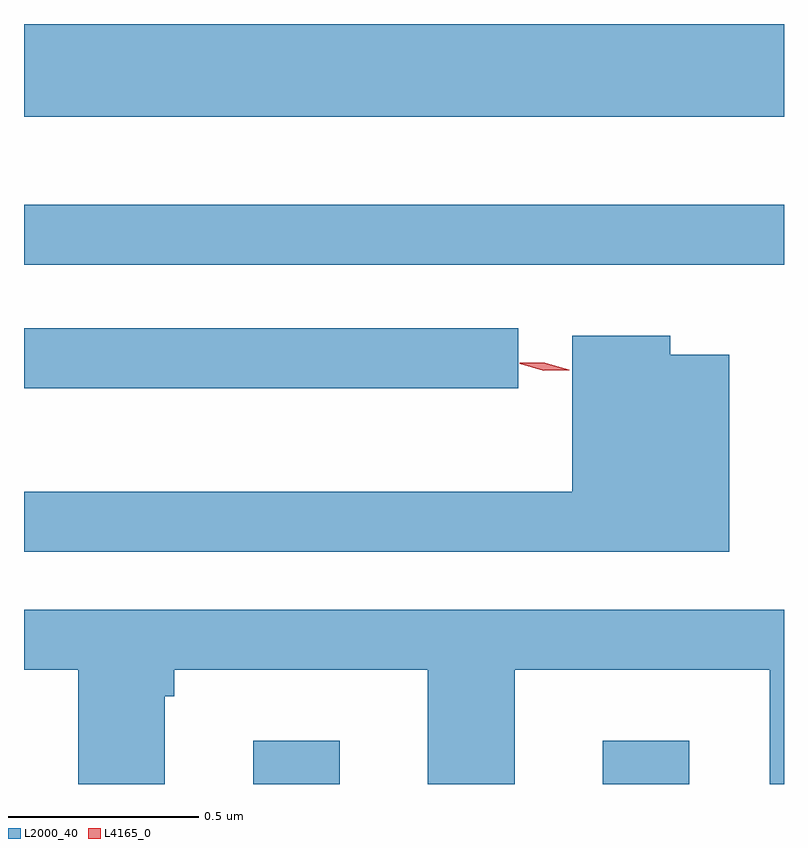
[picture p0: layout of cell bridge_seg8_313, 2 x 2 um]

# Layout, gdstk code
import gdstk
lib = gdstk.Library(unit=1e-6, precision=1e-09)
def R(c, l, rs):  # rectangles x0, y0, x1, y1
    for r in rs: c.add(gdstk.rectangle(r[:2], r[2:], *l))
def P(c, l, *ps):  # polygons
    for p in ps: c.add(gdstk.Polygon(p, *l))
L2000_40 = (2000, 40)
L4165_0 = (4165, 0)

bridge_seg8_313 = lib.new_cell('bridge_seg8_313')
R(bridge_seg8_313, L2000_40, [(1322.771,1867.96,1322.999,1868.074), (1323.691,1867.96,1323.919,1868.074), (1322.168,1869.001,1323.468,1869.159), (1322.168,1869.326,1324.168,1869.484), (1322.168,1869.716,1324.168,1869.96)])
P(bridge_seg8_313, L2000_40, [(1324.024,1869.089),(1323.869,1869.089),(1323.869,1869.139),(1323.611,1869.139),(1323.611,1868.729),(1322.168,1868.729),(1322.168,1868.571),(1324.024,1868.571)],
  [(1322.539,1868.191),(1322.564,1868.191),(1322.564,1868.261),(1323.231,1868.261),(1323.231,1867.96),(1323.459,1867.96),(1323.459,1868.261),(1324.131,1868.261),(1324.131,1867.96),(1324.168,1867.96),(1324.168,1868.419),(1322.168,1868.419),(1322.168,1868.261),(1322.311,1868.261),(1322.311,1867.96),(1322.539,1867.96)])
P(bridge_seg8_313, L4165_0, [(1323.536,1869.048),(1323.472,1869.066),(1323.472,1869.067),(1323.472,1869.068),(1323.539,1869.068),(1323.603,1869.05),(1323.603,1869.05),(1323.603,1869.049)])

lib.write_gds('bridge_seg8_313.gds')
